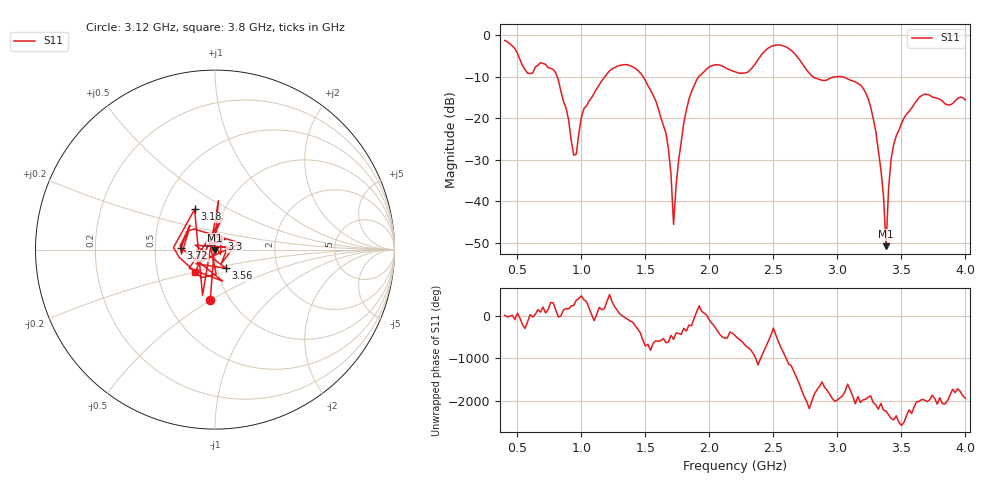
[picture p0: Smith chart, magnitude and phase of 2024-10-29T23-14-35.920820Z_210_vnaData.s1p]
!Created with skrf (http://scikit-rf.org).
# Hz S RI R 50.0
!freq ReS11 ImS11
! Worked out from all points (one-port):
!   181 points, 400 MHz to 4 GHz, reference 50 ohm
!   lowest |S11| = -50.8 dB at 3.38 GHz (marker M1), VSWR 1.01, Z = 50 - j0.288 ohm
!   |S11| at or under -10 dB: 810.8 MHz to 1.183 GHz (372 MHz wide, 37.3 % of centre); 1.483 GHz to 1.916 GHz (433.4 MHz wide, 25.5 % of centre); 3.041 GHz to end of sweep (the widest 3 of 4)
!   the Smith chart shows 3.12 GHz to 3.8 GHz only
!   S11 on the Smith chart (normalised r, x): 3.12 GHz: 0.81, -0.50; 3.18 GHz: 0.73, +0.35; 3.3 GHz: 1.07, +0.13; 3.56 GHz: 1.11, -0.23; 3.72 GHz: 0.68, +0.01; 3.8 GHz: 0.77, -0.20
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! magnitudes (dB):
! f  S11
! 400 MHz  -1.2
! 580 MHz  -9.1
! 780 MHz  -8.2
! 860 MHz  -15.9
! 960 MHz  -28.6
! 1.02 GHz  -17.6
! 1.3 GHz  -7.3
! 1.58 GHz  -15.7
! 1.68 GHz  -27.4
! 1.72 GHz  -45.6
! 1.76 GHz  -30.0
! 1.84 GHz  -15.4
! 1.92 GHz  -9.8
! 2.2 GHz  -8.8
! 2.5 GHz  -2.5
! 2.66 GHz  -4.2
! 2.82 GHz  -10.2
! 3.1 GHz  -10.8
! 3.12 GHz  -11.0
! 3.18 GHz  -12.0
! 3.3 GHz  -23.1
! 3.36 GHz  -38.6
! 3.38 GHz  -50.8
! 3.42 GHz  -29.7
! 3.56 GHz  -18.3
! 3.72 GHz  -14.4
! 3.8 GHz  -15.4
! 4 GHz  -15.6
